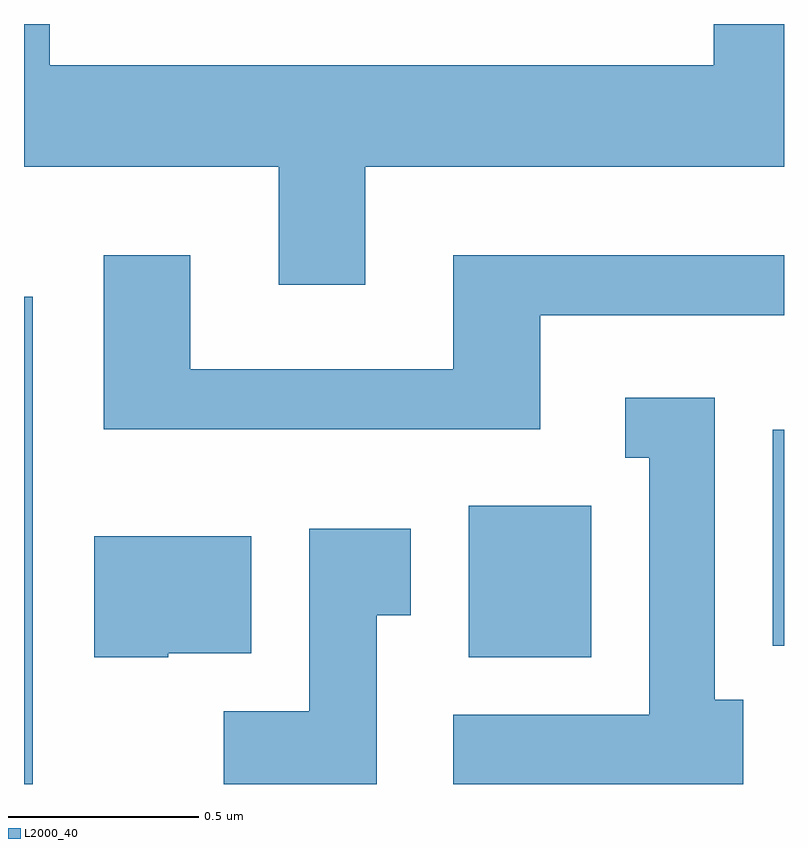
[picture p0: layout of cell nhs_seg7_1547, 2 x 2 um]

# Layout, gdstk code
import gdstk
lib = gdstk.Library(unit=1e-6, precision=1e-09)
def R(c, l, rs):  # rectangles x0, y0, x1, y1
    for r in rs: c.add(gdstk.rectangle(r[:2], r[2:], *l))
def P(c, l, *ps):  # polygons
    for p in ps: c.add(gdstk.Polygon(p, *l))
L2000_40 = (2000, 40)

nhs_seg7_1547 = lib.new_cell('nhs_seg7_1547')
R(nhs_seg7_1547, L2000_40, [(196.611,1708.252,196.634,1709.534), (197.781,1708.586,198.104,1708.984), (198.581,1708.616,198.611,1709.184)])
P(nhs_seg7_1547, L2000_40, [(197.509,1709.876),(198.611,1709.876),(198.611,1710.252),(198.426,1710.252),(198.426,1710.144),(196.679,1710.144),(196.679,1710.252),(196.611,1710.252),(196.611,1709.876),(197.281,1709.876),(197.281,1709.566),(197.509,1709.566)],
  [(197.969,1709.486),(198.611,1709.486),(198.611,1709.644),(197.741,1709.644),(197.741,1709.344),(197.049,1709.344),(197.049,1709.644),(196.821,1709.644),(196.821,1709.186),(197.969,1709.186)],
  [(198.504,1708.474),(198.429,1708.474),(198.429,1709.269),(198.193,1709.269),(198.193,1709.111),(198.256,1709.111),(198.256,1708.434),(197.741,1708.434),(197.741,1708.252),(198.504,1708.252)],
  [(197.539,1708.696),(197.629,1708.696),(197.629,1708.924),(197.361,1708.924),(197.361,1708.444),(197.136,1708.444),(197.136,1708.252),(197.539,1708.252)],
  [(196.99,1708.596),(197.209,1708.596),(197.209,1708.904),(196.796,1708.904),(196.796,1708.586),(196.99,1708.586)])

lib.write_gds('nhs_seg7_1547.gds')
